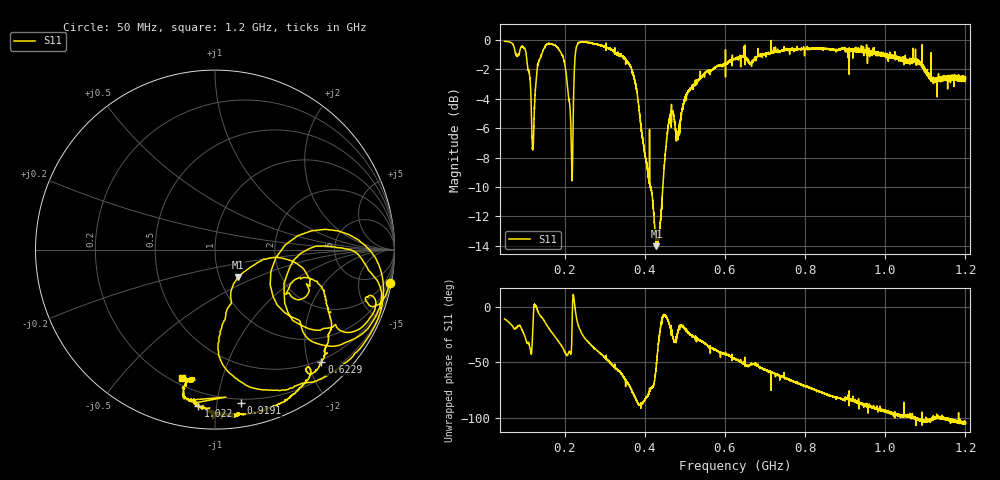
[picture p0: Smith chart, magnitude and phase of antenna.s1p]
! Calibrated NanoVNA antenna measurement, band-limited to the calibrated dynamic range
! Samples with nonfinite or |Gamma| >= 1 were excluded; see broadband-excluded.json
# Hz S RI R 50
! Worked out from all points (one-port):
!   40000 points, 50 MHz to 1.2 GHz, reference 50 ohm
!   lowest |S11| = -14.0 dB at 429 MHz (marker M1), VSWR 1.50, Z = 61.1 - j19.4 ohm
!   |S11| at or under -10 dB: 413.9336 MHz to 413.9939 MHz (60.36 kHz wide, 0.0146 % of centre); 414.0167 MHz to 414.3311 MHz (314.5 kHz wide, 0.0759 % of centre); 414.4 MHz to 444.9 MHz (30.53 MHz wide, 7.11 % of centre)
!   S11 on the Smith chart (normalised r, x): 50 MHz: 1, -10; 622.9 MHz: 0.46, -2.25; 919.1 MHz: 0.17, -1.17; 1.022 GHz: 0.12, -0.89; 1.2 GHz: 0.24, -0.74
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5e7  0.9729 -0.187
9.643125e7  0.8719 -0.3689
1.1072e8  0.6549 -0.4324
1.185688e8  0.3839 -0.2615
1.273088e8  0.6912 0.00805
1.495612e8  0.9208 -0.2104
1.9375e8  0.7204 -0.5206
2.049338e8  0.5377 -0.5103
2.14795e8  0.4024 -0.36
2.236788e8  0.7653 0.0744
2.310962e8  0.9392 -0.2151
2.516812e8  0.863 -0.4743
3.375e8  0.4637 -0.7524
3.661925e8  0.217 -0.7722
3.854838e8  0.0207 -0.583
4.289825e8  0.1268 -0.1528
4.461175e8  0.332 -0.0442
4.605788e8  0.5142 -0.1302
4.8125e8  0.4243 -0.1895
5.094538e8  0.616 -0.2701
6.228725e8  0.593 -0.6259
6.25e8  0.5908 -0.6293
7.6875e8  0.367 -0.8556
9.125e8  0.105 -0.915
9.190838e8  0.1447 -0.8558
1.022124e9  -0.0932 -0.8729
1.05625e9  -0.1142 -0.8324
1.2e9  -0.1872 -0.7117
